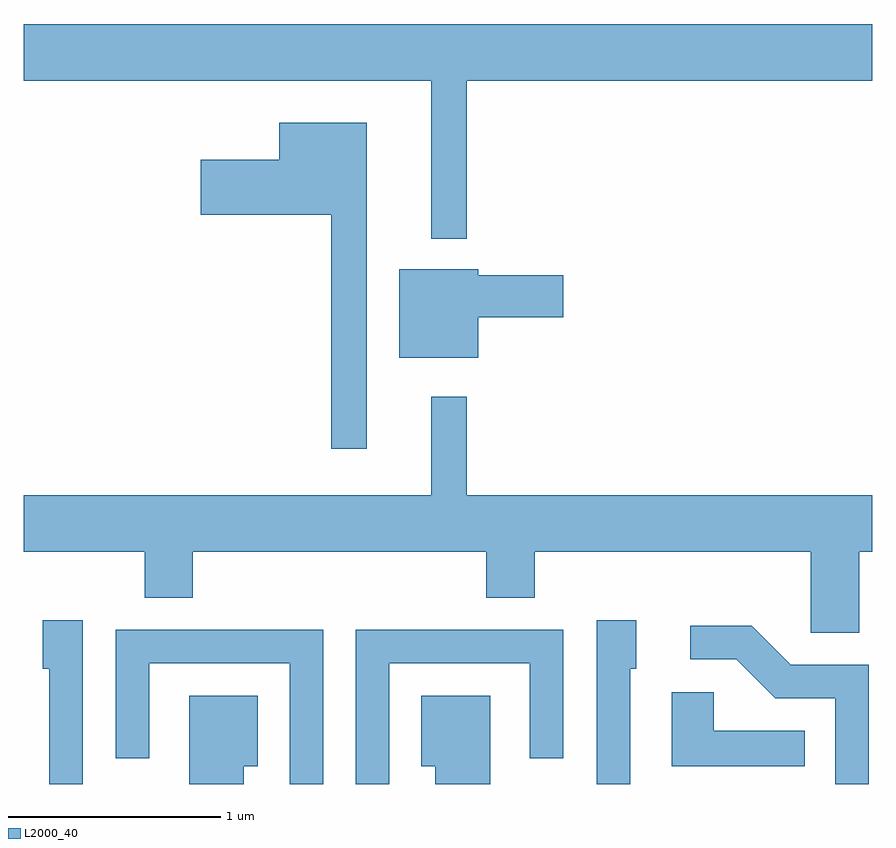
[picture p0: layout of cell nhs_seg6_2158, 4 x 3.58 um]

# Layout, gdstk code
import gdstk
lib = gdstk.Library(unit=1e-6, precision=1e-09)
def P(c, l, *ps):  # polygons
    for p in ps: c.add(gdstk.Polygon(p, *l))
L2000_40 = (2000, 40)

nhs_seg6_2158 = lib.new_cell('nhs_seg6_2158')
P(nhs_seg6_2158, L2000_40, [(251.699,1665.476),(253.611,1665.476),(253.611,1665.744),(249.611,1665.744),(249.611,1665.476),(251.531,1665.476),(251.531,1664.733),(251.699,1664.733)],
  [(251.229,1665.279),(250.816,1665.279),(250.816,1665.104),(250.446,1665.104),(250.446,1664.846),(251.061,1664.846),(251.061,1663.743),(251.229,1663.743)],
  [(251.754,1664.361),(252.154,1664.361),(252.154,1664.559),(251.754,1664.559),(251.754,1664.589),(251.381,1664.589),(251.381,1664.171),(251.754,1664.171)],
  [(253.549,1663.256),(253.611,1663.256),(253.611,1663.524),(251.699,1663.524),(251.699,1663.988),(251.531,1663.988),(251.531,1663.524),(249.611,1663.524),(249.611,1663.256),(250.181,1663.256),(250.181,1663.041),(250.409,1663.041),(250.409,1663.256),(251.791,1663.256),(251.791,1663.041),(252.019,1663.041),(252.019,1663.256),(253.321,1663.256),(253.321,1662.876),(253.549,1662.876)],
  [(252.469,1662.706),(252.499,1662.706),(252.499,1662.934),(252.311,1662.934),(252.311,1662.162),(252.469,1662.162)],
  [(249.889,1662.934),(249.701,1662.934),(249.701,1662.706),(249.731,1662.706),(249.731,1662.162),(249.889,1662.162)],
  [(253.594,1662.724),(253.227,1662.724),(253.042,1662.909),(252.753,1662.909),(252.753,1662.751),(252.969,1662.751),(253.154,1662.566),(253.436,1662.566),(253.436,1662.162),(253.594,1662.162)],
  [(251.024,1662.889),(250.046,1662.889),(250.046,1662.283),(250.204,1662.283),(250.204,1662.731),(250.866,1662.731),(250.866,1662.162),(251.024,1662.162)],
  [(251.334,1662.731),(251.996,1662.731),(251.996,1662.283),(252.154,1662.283),(252.154,1662.889),(251.176,1662.889),(251.176,1662.162),(251.334,1662.162)],
  [(253.293,1662.414),(252.864,1662.414),(252.864,1662.594),(252.666,1662.594),(252.666,1662.246),(253.293,1662.246)],
  [(250.649,1662.246),(250.714,1662.246),(250.714,1662.579),(250.391,1662.579),(250.391,1662.162),(250.649,1662.162)],
  [(251.809,1662.579),(251.486,1662.579),(251.486,1662.246),(251.551,1662.246),(251.551,1662.162),(251.809,1662.162)])

lib.write_gds('nhs_seg6_2158.gds')
